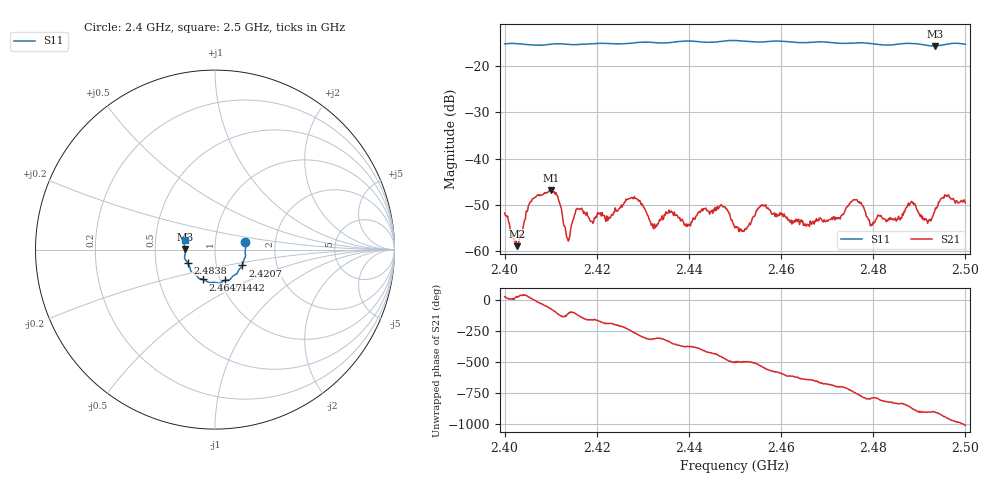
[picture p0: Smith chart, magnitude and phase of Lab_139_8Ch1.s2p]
# Hz S RI R 50
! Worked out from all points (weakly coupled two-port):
!   601 points, 2.4 GHz to 2.5 GHz, reference 50 ohm
!   highest |S21| = -46.83 dB at 2.41 GHz (marker M1); lowest = -59.0 dB at 2.4027 GHz (marker M2)
!   lowest |S11| = -15.6 dB at 2.4935 GHz (marker M3), VSWR 1.40, Z = 35.8 + j0.159 ohm
!   |S11| at or under -10 dB: start of sweep to end of sweep
!   S12 and S22 are empty: the file has one direction only
!   S11 on the Smith chart (normalised r, x): 2.4 GHz: 1.40, +0.12; 2.4207 GHz: 1.33, -0.24; 2.4442 GHz: 1.05, -0.37; 2.4647 GHz: 0.83, -0.29; 2.4838 GHz: 0.73, -0.11; 2.5 GHz: 0.71, +0.07
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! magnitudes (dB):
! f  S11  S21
! 2.4 GHz  -15.2  -51.8
! 2.4027 GHz  -15.1  -59.0
! 2.4057 GHz  -15.4  -49.3
! 2.41 GHz  -15.3  -46.8
! 2.4117 GHz  -15.2  -48.8
! 2.4137 GHz  -15.3  -57.3
! 2.4167 GHz  -15.3  -50.8
! 2.4207 GHz  -15.1  -52.0
! 2.428 GHz  -15.0  -48.7
! 2.4333 GHz  -15.0  -54.1
! 2.4442 GHz  -14.9  -51.4
! 2.4475 GHz  -14.6  -50.5
! 2.45 GHz  -14.5  -55.0
! 2.4562 GHz  -14.8  -50.1
! 2.4647 GHz  -14.9  -53.5
! 2.4667 GHz  -14.8  -54.2
! 2.476 GHz  -15.0  -48.9
! 2.4795 GHz  -15.1  -54.6
! 2.4833 GHz  -15.4  -53.0
! 2.4838 GHz  -15.4  -53.2
! 2.4935 GHz  -15.6  -50.7
! 2.5 GHz  -15.3  -49.6
